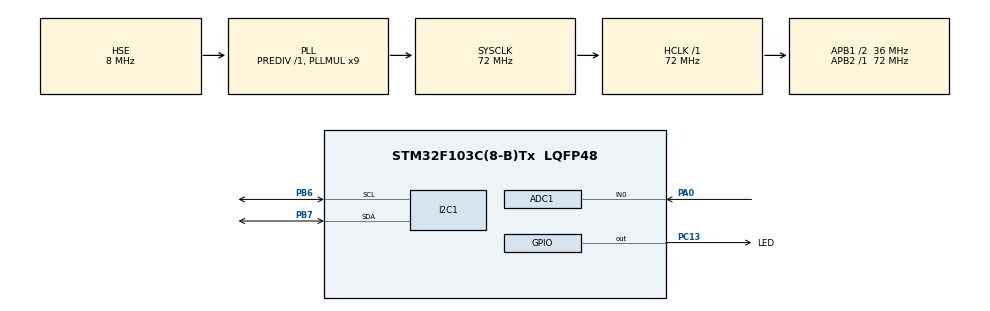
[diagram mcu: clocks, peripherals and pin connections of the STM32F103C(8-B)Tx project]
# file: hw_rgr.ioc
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ADC1.Channel-0\#ChannelRegularConversion=ADC_CHANNEL_0
ADC1.ContinuousConvMode=ENABLE
ADC1.NbrOfConversionFlag=1
ADC1.Rank-0\#ChannelRegularConversion=1
ADC1.SamplingTime-0\#ChannelRegularConversion=ADC_SAMPLETIME_239CYCLES_5
ADC1.master=1
Mcu.Family=STM32F1
Mcu.Name=STM32F103C(8-B)Tx
Mcu.Package=LQFP48
NVIC.ADC1_2_IRQn=true\:0\:0\:false\:false\:true\:true\:true\:true
NVIC.PriorityGroup=NVIC_PRIORITYGROUP_4
PA0-WKUP.Signal=ADCx_IN0
PA13.Mode=Serial_Wire
PA13.Signal=SYS_JTMS-SWDIO
PA14.Mode=Serial_Wire
PA14.Signal=SYS_JTCK-SWCLK
PB6.Mode=I2C
PB6.Signal=I2C1_SCL
PB7.Mode=I2C
PB7.Signal=I2C1_SDA
PC13-TAMPER-RTC.GPIO_Label=LED
PC13-TAMPER-RTC.Signal=GPIO_Output
PD0-OSC_IN.Mode=HSE-External-Oscillator
PD0-OSC_IN.Signal=RCC_OSC_IN
PD1-OSC_OUT.Mode=HSE-External-Oscillator
PD1-OSC_OUT.Signal=RCC_OSC_OUT
ProjectManager.HeapSize=0x200
ProjectManager.StackSize=0x400
ProjectManager.TargetToolchain=CMake
RCC.ADCPresc=RCC_ADCPCLK2_DIV6
RCC.AHBFreq_Value=72000000
RCC.APB1CLKDivider=RCC_HCLK_DIV2
RCC.APB1Freq_Value=36000000
RCC.APB1TimFreq_Value=72000000
RCC.APB2Freq_Value=72000000
RCC.APB2TimFreq_Value=72000000
RCC.HCLKFreq_Value=72000000
RCC.PLLMUL=RCC_PLL_MUL9
RCC.PLLSourceVirtual=RCC_PLLSOURCE_HSE
RCC.SYSCLKFreq_VALUE=72000000
RCC.SYSCLKSource=RCC_SYSCLKSOURCE_PLLCLK
RCC.USBFreq_Value=72000000
SH.ADCx_IN0.0=ADC1_IN0,IN0
board=custom

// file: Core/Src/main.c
/* USER CODE BEGIN Header */
/**
  ******************************************************************************
  * @file           : main.c
  * @brief          : Main program body
  ******************************************************************************
  * @attention
  *
  * Copyright (c) 2025 STMicroelectronics.
  * All rights reserved.
  *
  * This software is licensed under terms that can be found in the LICENSE file
  * in the root directory of this software component.
  * If no LICENSE file comes with this software, it is provided AS-IS.
  *
  ******************************************************************************
  */
/* USER CODE END Header */
#include "main.h"

/* USER CODE BEGIN Includes */
#include <string.h>
#include <stdio.h>

#include "ssd1306.h"
#include "fonts.h"
/* USER CODE END Includes */

ADC_HandleTypeDef hadc1;

I2C_HandleTypeDef hi2c1;

/* USER CODE BEGIN PV */
uint16_t ADC_VAL = 0;
float voltage = 0.0;
/* USER CODE END PV */

void SystemClock_Config(void);
static void MX_GPIO_Init(void);
static void MX_I2C1_Init(void);
static void MX_ADC1_Init(void);

int main(void)
{

    /* MCU Configuration--------------------------------------------------------*/

    /* Reset of all peripherals, Initializes the Flash interface and the Systick. */
    HAL_Init();

    /* Configure the system clock */
    SystemClock_Config();

    /* Initialize all configured peripherals */
    MX_GPIO_Init();
    MX_I2C1_Init();
    MX_ADC1_Init();
    /* USER CODE BEGIN 2 */
    HAL_ADC_Init(&hadc1);
    HAL_ADC_PollForConversion(&hadc1, 100);
    HAL_ADC_Start(&hadc1);

    ssd1306_Init();
    ssd1306_Clear();
    ssd1306_SetColor(White);
    ssd1306_UpdateScreen();

    HAL_ADC_Start_IT(&hadc1);
    /* USER CODE END 2 */

    /* Infinite loop */
    /* USER CODE BEGIN WHILE */
    while (1)
    {
        voltage = (ADC_VAL * 3.3) / 4095.0;

        char str_buffer[20];
        sprintf(str_buffer, "ADC: %d.%02d V", (int)voltage, (int)(voltage * 100) % 100);

        ssd1306_SetCursor(0, 0);
        ssd1306_WriteString(str_buffer, Font_11x18);
        ssd1306_UpdateScreen();

        /* USER CODE END WHILE */

    }
}

void SystemClock_Config(void)
{
    RCC_OscInitTypeDef RCC_OscInitStruct = {0};
    RCC_ClkInitTypeDef RCC_ClkInitStruct = {0};
    RCC_PeriphCLKInitTypeDef PeriphClkInit = {0};

    /** Initializes the RCC Oscillators according to the specified parameters
    * in the RCC_OscInitTypeDef structure.
    */
    RCC_OscInitStruct.OscillatorType = RCC_OSCILLATORTYPE_HSE;
    RCC_OscInitStruct.HSEState = RCC_HSE_ON;
    RCC_OscInitStruct.HSEPredivValue = RCC_HSE_PREDIV_DIV1;
    RCC_OscInitStruct.HSIState = RCC_HSI_ON;
    RCC_OscInitStruct.PLL.PLLState = RCC_PLL_ON;
    RCC_OscInitStruct.PLL.PLLSource = RCC_PLLSOURCE_HSE;
    RCC_OscInitStruct.PLL.PLLMUL = RCC_PLL_MUL9;
    if (HAL_RCC_OscConfig(&RCC_OscInitStruct) != HAL_OK)
    {
        Error_Handler();
    }

    /** Initializes the CPU, AHB and APB buses clocks
    */
    RCC_ClkInitStruct.ClockType = RCC_CLOCKTYPE_HCLK | RCC_CLOCKTYPE_SYSCLK
        | RCC_CLOCKTYPE_PCLK1 | RCC_CLOCKTYPE_PCLK2;
    RCC_ClkInitStruct.SYSCLKSource = RCC_SYSCLKSOURCE_PLLCLK;
    RCC_ClkInitStruct.AHBCLKDivider = RCC_SYSCLK_DIV1;
    RCC_ClkInitStruct.APB1CLKDivider = RCC_HCLK_DIV2;
    RCC_ClkInitStruct.APB2CLKDivider = RCC_HCLK_DIV1;

    if (HAL_RCC_ClockConfig(&RCC_ClkInitStruct, FLASH_LATENCY_2) != HAL_OK)
    {
        Error_Handler();
    }
    PeriphClkInit.PeriphClockSelection = RCC_PERIPHCLK_ADC;
    PeriphClkInit.AdcClockSelection = RCC_ADCPCLK2_DIV6;
    if (HAL_RCCEx_PeriphCLKConfig(&PeriphClkInit) != HAL_OK)
    {
        Error_Handler();
    }
}

static void MX_ADC1_Init(void)
{

    ADC_ChannelConfTypeDef sConfig = {0};

    /** Common config
    */
    hadc1.Instance = ADC1;
    hadc1.Init.ScanConvMode = ADC_SCAN_DISABLE;
    hadc1.Init.ContinuousConvMode = ENABLE;
    hadc1.Init.DiscontinuousConvMode = DISABLE;
    hadc1.Init.ExternalTrigConv = ADC_SOFTWARE_START;
    hadc1.Init.DataAlign = ADC_DATAALIGN_RIGHT;
    hadc1.Init.NbrOfConversion = 1;
    if (HAL_ADC_Init(&hadc1) != HAL_OK)
    {
        Error_Handler();
    }

    /** Configure Regular Channel
    */
    sConfig.Channel = ADC_CHANNEL_0;
    sConfig.Rank = ADC_REGULAR_RANK_1;
    sConfig.SamplingTime = ADC_SAMPLETIME_239CYCLES_5;
    if (HAL_ADC_ConfigChannel(&hadc1, &sConfig) != HAL_OK)
    {
        Error_Handler();
    }
}

static void MX_I2C1_Init(void)
{

    hi2c1.Instance = I2C1;
    hi2c1.Init.ClockSpeed = 100000;
    hi2c1.Init.DutyCycle = I2C_DUTYCYCLE_2;
    hi2c1.Init.OwnAddress1 = 0;
    hi2c1.Init.AddressingMode = I2C_ADDRESSINGMODE_7BIT;
    hi2c1.Init.DualAddressMode = I2C_DUALADDRESS_DISABLE;
    hi2c1.Init.OwnAddress2 = 0;
    hi2c1.Init.GeneralCallMode = I2C_GENERALCALL_DISABLE;
    hi2c1.Init.NoStretchMode = I2C_NOSTRETCH_DISABLE;
    if (HAL_I2C_Init(&hi2c1) != HAL_OK)
    {
        Error_Handler();
    }
}

static void MX_GPIO_Init(void)
{
    GPIO_InitTypeDef GPIO_InitStruct = {0};

    /* GPIO Ports Clock Enable */
    __HAL_RCC_GPIOC_CLK_ENABLE();
    __HAL_RCC_GPIOD_CLK_ENABLE();
    __HAL_RCC_GPIOA_CLK_ENABLE();
    __HAL_RCC_GPIOB_CLK_ENABLE();

    /*Configure GPIO pin Output Level */
    HAL_GPIO_WritePin(LED_GPIO_Port, LED_Pin, GPIO_PIN_RESET);

    /*Configure GPIO pin : LED_Pin */
    GPIO_InitStruct.Pin = LED_Pin;
    GPIO_InitStruct.Mode = GPIO_MODE_OUTPUT_PP;
    GPIO_InitStruct.Pull = GPIO_NOPULL;
    GPIO_InitStruct.Speed = GPIO_SPEED_FREQ_LOW;
    HAL_GPIO_Init(LED_GPIO_Port, &GPIO_InitStruct);

}

/* USER CODE BEGIN 4 */
void HAL_ADC_ConvCpltCallback(ADC_HandleTypeDef* hadc)
{
    ADC_VAL = HAL_ADC_GetValue(&hadc1);
    voltage = (ADC_VAL * 3.3) / 4095.0;
}

/* USER CODE END 4 */

void Error_Handler(void)
{
    __disable_irq();
    while (1)
    {
    }
}
